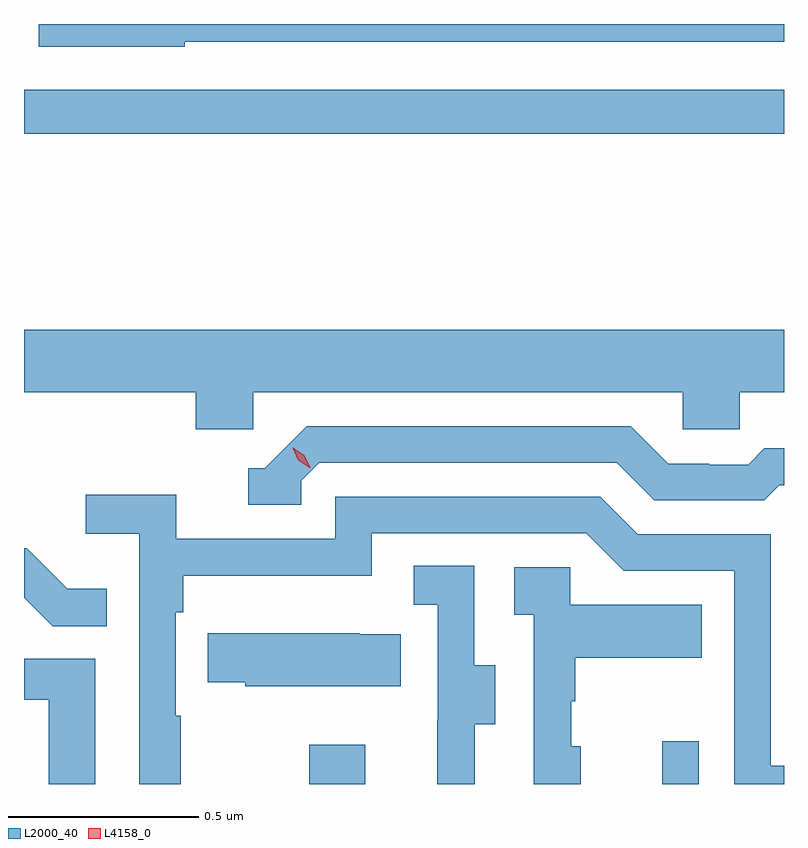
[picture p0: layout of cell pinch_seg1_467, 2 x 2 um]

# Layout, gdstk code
import gdstk
lib = gdstk.Library(unit=1e-6, precision=1e-09)
def R(c, l, rs):  # rectangles x0, y0, x1, y1
    for r in rs: c.add(gdstk.rectangle(r[:2], r[2:], *l))
def P(c, l, *ps):  # polygons
    for p in ps: c.add(gdstk.Polygon(p, *l))
L2000_40 = (2000, 40)
L4158_0 = (4158, 0)

pinch_seg1_467 = lib.new_cell('pinch_seg1_467')
R(pinch_seg1_467, L2000_40, [(970.576,508.077,970.723,508.18), (971.504,508.077,971.601,508.189), (969.825,509.788,971.825,509.904)])
P(pinch_seg1_467, L2000_40, [(970.248,510.03),(971.825,510.03),(971.825,510.077),(969.864,510.077),(969.864,510.017),(970.248,510.017)],
  [(969.825,509.108),(970.277,509.108),(970.277,509.01),(970.428,509.01),(970.428,509.108),(971.559,509.108),(971.559,509.01),(971.709,509.01),(971.709,509.108),(971.825,509.108),(971.825,509.272),(969.825,509.272)],
  [(970.554,508.875),(970.602,508.923),(971.385,508.923),(971.484,508.824),(971.773,508.824),(971.812,508.863),(971.825,508.863),(971.825,508.96),(971.773,508.96),(971.731,508.917),(971.628,508.917),(971.628,508.92),(971.521,508.92),(971.422,509.019),(970.569,509.019),(970.458,508.908),(970.415,508.908),(970.415,508.812),(970.554,508.812)],
  [(970.237,508.256),(970.224,508.256),(970.224,508.529),(970.244,508.529),(970.244,508.625),(970.74,508.625),(970.74,508.737),(971.304,508.737),(971.403,508.638),(971.694,508.638),(971.694,508.077),(971.825,508.077),(971.825,508.125),(971.79,508.125),(971.79,508.734),(971.44,508.734),(971.341,508.833),(970.644,508.833),(970.644,508.722),(970.226,508.722),(970.226,508.838),(969.987,508.838),(969.987,508.736),(970.128,508.736),(970.128,508.077),(970.237,508.077)],
  [(970.043,508.591),(969.939,508.591),(969.832,508.698),(969.825,508.698),(969.825,508.567),(969.9,508.492),(970.043,508.492)],
  [(971.011,508.234),(971.065,508.234),(971.065,508.389),(971.01,508.389),(971.01,508.652),(970.851,508.652),(970.851,508.549),(970.914,508.549),(970.914,508.245),(970.913,508.245),(970.913,508.077),(971.011,508.077)],
  [(971.29,508.176),(971.265,508.176),(971.265,508.295),(971.275,508.295),(971.275,508.409),(971.609,508.409),(971.609,508.549),(971.262,508.549),(971.262,508.647),(971.115,508.647),(971.115,508.523),(971.166,508.523),(971.166,508.077),(971.29,508.077)],
  [(970.817,508.471),(970.709,508.471),(970.709,508.474),(970.309,508.474),(970.309,508.345),(970.407,508.345),(970.407,508.334),(970.817,508.334)],
  [(970.012,508.407),(969.825,508.407),(969.825,508.299),(969.89,508.299),(969.89,508.077),(970.012,508.077)])
P(pinch_seg1_467, L4158_0, [(970.577,508.909),(970.547,508.929),(970.532,508.962),(970.532,508.962),(970.532,508.962),(970.562,508.942),(970.578,508.909),(970.578,508.909)])

lib.write_gds('pinch_seg1_467.gds')
